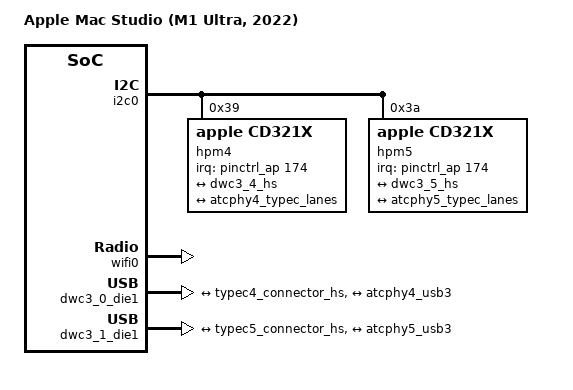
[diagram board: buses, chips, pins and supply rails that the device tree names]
// SPDX-License-Identifier: GPL-2.0+ OR MIT
/*
 * Mac Studio (M1 Ultra, 2022)
 *
 * target-type: J375d
 *
 * Copyright The Asahi Linux Contributors
 */

/dts-v1/;

#include "t6002.dtsi"
#include "t600x-j375.dtsi"

/ {
	compatible = "apple,j375d", "apple,t6002", "apple,arm-platform";
	model = "Apple Mac Studio (M1 Ultra, 2022)";
	aliases {
		atcphy4 = &atcphy0_die1;
		atcphy5 = &atcphy1_die1;
	};
};

/* USB Type C */
&i2c0 {
	/* front-right */
	hpm4: usb-pd@39 {
		compatible = "apple,cd321x";
		reg = <0x39>;
		interrupt-parent = <&pinctrl_ap>;
		interrupts = <174 IRQ_TYPE_LEVEL_LOW>;
		interrupt-names = "irq";

		typec4: connector {
			compatible = "usb-c-connector";
			label = "USB-C Front Right";
			power-role = "dual";
			data-role = "dual";

			ports {
				#address-cells = <1>;
				#size-cells = <0>;
				port@0 {
					reg = <0>;
					typec4_connector_hs: endpoint {
						remote-endpoint = <&dwc3_4_hs>;
					};
				};
				port@1 {
					reg = <1>;
					typec4_connector_ss: endpoint {
						remote-endpoint = <&atcphy4_typec_lanes>;
					};
				};
			};
		};
	};

	/* front-left */
	hpm5: usb-pd@3a {
		compatible = "apple,cd321x";
		reg = <0x3a>;
		interrupt-parent = <&pinctrl_ap>;
		interrupts = <174 IRQ_TYPE_LEVEL_LOW>;
		interrupt-names = "irq";

		typec5: connector {
			compatible = "usb-c-connector";
			label = "USB-C Front Left";
			power-role = "dual";
			data-role = "dual";

			ports {
				#address-cells = <1>;
				#size-cells = <0>;
				port@0 {
					reg = <0>;
					typec5_connector_hs: endpoint {
						remote-endpoint = <&dwc3_5_hs>;
					};
				};
				port@1 {
					reg = <1>;
					typec5_connector_ss: endpoint {
						remote-endpoint = <&atcphy5_typec_lanes>;
					};
				};
			};
		};
	};
};

&wifi0 {
	brcm,board-type = "apple,okinawa";
};

&bluetooth0 {
	brcm,board-type = "apple,okinawa";
};

/* USB controllers on die 1 */
&dwc3_0_die1 {
	ports {
		#address-cells = <1>;
		#size-cells = <0>;

		port@0 {
			reg = <0>;
			dwc3_4_hs: endpoint {
				remote-endpoint = <&typec4_connector_hs>;
			};
		};

		port@1 {
			reg = <1>;
			dwc3_4_ss: endpoint {
				remote-endpoint = <&atcphy4_usb3>;
			};
		};
	};
};

&dwc3_1_die1 {
	ports {
		#address-cells = <1>;
		#size-cells = <0>;

		port@0 {
			reg = <0>;
			dwc3_5_hs: endpoint {
				remote-endpoint = <&typec5_connector_hs>;
			};
		};

		port@1 {
			reg = <1>;
			dwc3_5_ss: endpoint {
				remote-endpoint = <&atcphy5_usb3>;
			};
		};
	};
};

/* Type-C PHYs */
&atcphy0_die1 {
	ports {
		#address-cells = <1>;
		#size-cells = <0>;

		port@0 {
			reg = <0>;
			atcphy4_typec_lanes: endpoint {
				remote-endpoint = <&typec4_connector_ss>;
			};
		};

		port@1 {
			reg = <1>;
			atcphy4_usb3: endpoint {
				remote-endpoint = <&dwc3_4_ss>;
			};
		};
	};
};

&atcphy1_die1 {
	ports {
		#address-cells = <1>;
		#size-cells = <0>;

		port@0 {
			reg = <0>;
			atcphy5_typec_lanes: endpoint {
				remote-endpoint = <&typec5_connector_ss>;
			};
		};

		port@1 {
			reg = <1>;
			atcphy5_usb3: endpoint {
				remote-endpoint = <&dwc3_5_ss>;
			};
		};
	};
};

/* delete unused USB nodes on die 1 */

/delete-node/ &dwc3_2_dart_0_die1;
/delete-node/ &dwc3_2_dart_1_die1;
/delete-node/ &dwc3_2_die1;
/delete-node/ &atcphy2_die1;

/delete-node/ &dwc3_3_dart_0_die1;
/delete-node/ &dwc3_3_dart_1_die1;
/delete-node/ &dwc3_3_die1;
/delete-node/ &atcphy3_die1;

/* delete unused always-on power-domains on die 1 */

/delete-node/ &ps_atc2_usb_aon_die1;
/delete-node/ &ps_atc2_usb_die1;

/delete-node/ &ps_atc3_usb_aon_die1;
/delete-node/ &ps_atc3_usb_die1;

/delete-node/ &ps_disp0_cpu0_die1;
/delete-node/ &ps_disp0_fe_die1;
